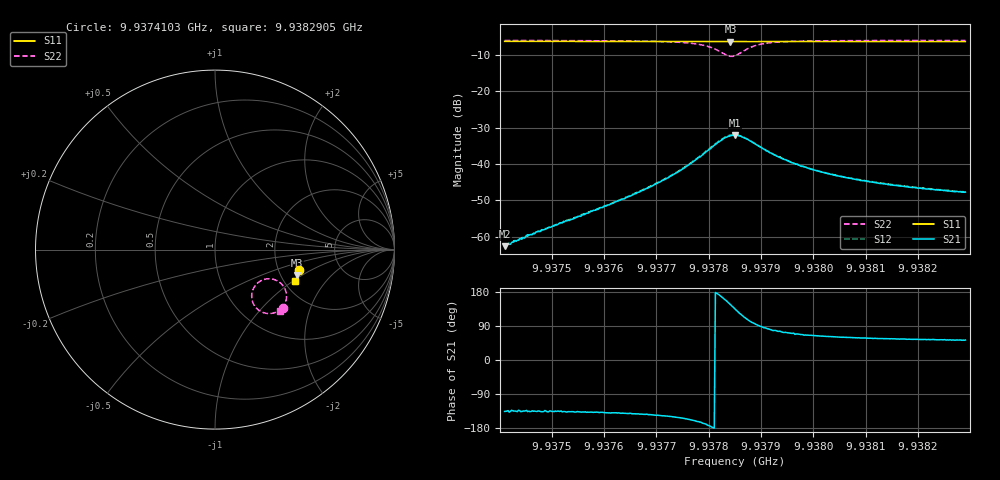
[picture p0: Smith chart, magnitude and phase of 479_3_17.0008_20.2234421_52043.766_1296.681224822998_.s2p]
#  HZ  S  RI  R  50.00
! Rohde & Schwarz Vector Network Analyzer
! Rohde-Schwarz,ZNB20-2Port,1311601062101988,3.16
! Created: UTC 3/20/2024, 11:13:36 PM
! freq[Hz]  re:S11  im:S11  re:S21  im:S21  re:S12  im:S12  re:S22  im:S22
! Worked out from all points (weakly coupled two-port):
!   401 points, 9.9374103 GHz to 9.9382905 GHz, reference 50 ohm
!   highest |S21| = -32.07 dB at 9.9378504 GHz (marker M1); lowest = -62.6 dB at 9.9374103 GHz (marker M2)
!   lowest |S11| = -6.4 dB at 9.9378416 GHz (marker M3), VSWR 2.83, Z = 122 - j45.2 ohm
!   |S11| at or under -10 dB: nowhere
!   |S22| runs from -10.4 to -6.1 dB; largest |S21 - S12| = 0.0011
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9.93741033e9  0.4691 -0.1158  -0.000531 -0.000519  -0.000567 -0.000549  0.3769 -0.3242
9.93744554e9  0.4683 -0.1181  -0.000692 -0.000697  -0.000675 -0.000691  0.3739 -0.3269
9.93745654e9  0.4681 -0.1189  -0.000748 -0.000747  -0.000758 -0.000719  0.3731 -0.3277
9.93755777e9  0.4657 -0.1257  -0.00145 -0.00133  -0.0015 -0.00136  0.3618 -0.3364
9.93763918e9  0.4639 -0.1311  -0.00256 -0.00211  -0.00269 -0.00211  0.3476 -0.3448
9.9377052e9  0.4621 -0.1356  -0.00462 -0.0031  -0.00475 -0.00309  0.3271 -0.353
9.93774921e9  0.4608 -0.1386  -0.00752 -0.00381  -0.00771 -0.00376  0.301 -0.3566
9.93779542e9  0.4586 -0.1417  -0.0145 -0.00268  -0.0148 -0.00244  0.2455 -0.3386
9.93781082e9  0.4579 -0.1424  -0.0181 -4.58e-05  -0.0184 0.000422  0.2204 -0.3129
9.93782403e9  0.4573 -0.1427  -0.0206 0.00449  -0.0209 0.00524  0.2051 -0.2736
9.93783283e9  0.4567 -0.1429  -0.0215 0.0088  -0.0217 0.00967  0.2063 -0.2391
9.93784163e9  0.4565 -0.1428  -0.0203 0.0137  -0.0204 0.0145  0.2217 -0.2038
9.93785043e9  0.4567 -0.143  -0.0175 0.0178  -0.0173 0.0185  0.2507 -0.1765
9.93786144e9  0.4569 -0.1431  -0.0123 0.0207  -0.0118 0.0213  0.2959 -0.1625
9.93787684e9  0.4573 -0.1439  -0.0052 0.0206  -0.0048 0.0209  0.3486 -0.1747
9.93790324e9  0.4577 -0.146  0.000951 0.0164  0.00137 0.0163  0.3893 -0.2187
9.93794505e9  0.4569 -0.1492  0.00342 0.011  0.00372 0.0109  0.3983 -0.2653
9.93799787e9  0.4556 -0.1531  0.00357 0.00761  0.00374 0.0076  0.3924 -0.2944
9.93805728e9  0.4542 -0.1571  0.00329 0.00573  0.00343 0.00569  0.3847 -0.3114
9.9381453e9  0.4517 -0.1629  0.00291 0.00434  0.00303 0.0043  0.375 -0.3257
9.93821352e9  0.4498 -0.1673  0.00265 0.00371  0.0028 0.00367  0.3688 -0.3333
9.93829053e9  0.4477 -0.1722  0.0025 0.00326  0.00256 0.00323  0.3627 -0.3401
